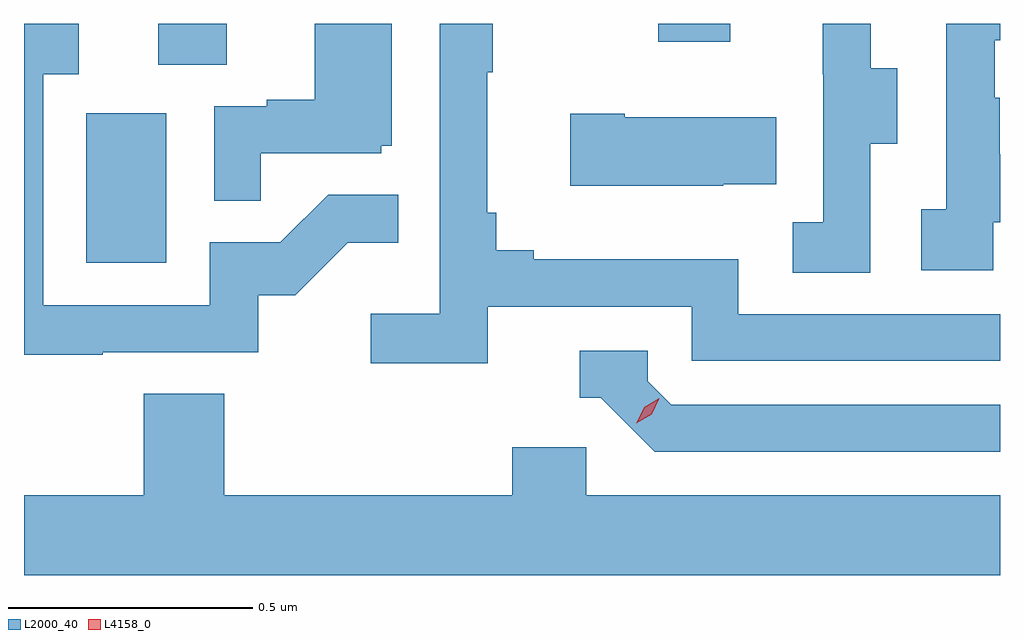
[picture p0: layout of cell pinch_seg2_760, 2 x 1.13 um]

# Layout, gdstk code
import gdstk
lib = gdstk.Library(unit=1e-6, precision=1e-09)
def R(c, l, rs):  # rectangles x0, y0, x1, y1
    for r in rs: c.add(gdstk.rectangle(r[:2], r[2:], *l))
def P(c, l, *ps):  # polygons
    for p in ps: c.add(gdstk.Polygon(p, *l))
L2000_40 = (2000, 40)
L4158_0 = (4158, 0)

pinch_seg2_760 = lib.new_cell('pinch_seg2_760')
R(pinch_seg2_760, L2000_40, [(885.044,661.596,885.208,661.903), (885.191,662.002,885.331,662.086), (886.216,662.049,886.363,662.086)])
P(pinch_seg2_760, L2000_40, [(885.401,661.821),(885.648,661.821),(885.648,661.836),(885.67,661.836),(885.67,662.086),(885.512,662.086),(885.512,661.93),(885.413,661.93),(885.413,661.917),(885.306,661.917),(885.306,661.723),(885.401,661.723)],
  [(886.902,661.679),(886.916,661.679),(886.916,661.819),(886.915,661.819),(886.915,661.934),(886.905,661.934),(886.905,662.052),(886.916,662.052),(886.916,662.086),(886.806,662.086),(886.806,661.706),(886.755,661.706),(886.755,661.581),(886.902,661.581)],
  [(885.866,661.506),(886.284,661.506),(886.284,661.395),(886.916,661.395),(886.916,661.491),(886.38,661.491),(886.38,661.603),(885.961,661.603),(885.961,661.622),(885.884,661.622),(885.884,661.699),(885.865,661.699),(885.865,661.987),(885.877,661.987),(885.877,662.086),(885.768,662.086),(885.768,661.492),(885.627,661.492),(885.627,661.39),(885.866,661.39)],
  [(886.65,661.84),(886.705,661.84),(886.705,661.995),(886.651,661.995),(886.651,662.086),(886.553,662.086),(886.553,661.983),(886.554,661.983),(886.554,661.679),(886.491,661.679),(886.491,661.576),(886.65,661.576)],
  [(885.077,661.413),(885.396,661.413),(885.396,661.53),(885.472,661.53),(885.579,661.637),(885.683,661.637),(885.683,661.736),(885.539,661.736),(885.441,661.638),(885.297,661.638),(885.297,661.509),(884.955,661.509),(884.955,661.983),(885.028,661.983),(885.028,662.086),(884.916,662.086),(884.916,661.408),(885.077,661.408)],
  [(886.349,661.757),(886.457,661.757),(886.457,661.894),(886.147,661.894),(886.147,661.902),(886.035,661.902),(886.035,661.754),(886.349,661.754)],
  [(886.916,661.305),(886.242,661.305),(886.194,661.353),(886.194,661.416),(886.055,661.416),(886.055,661.32),(886.098,661.32),(886.209,661.209),(886.916,661.209)],
  [(886.916,661.12),(886.068,661.12),(886.068,661.218),(885.917,661.218),(885.917,661.12),(885.326,661.12),(885.326,661.328),(885.161,661.328),(885.161,661.12),(884.916,661.12),(884.916,660.956),(886.916,660.956)])
P(pinch_seg2_760, L4158_0, [(886.171,661.267),(886.171,661.267),(886.187,661.3),(886.218,661.319),(886.218,661.319),(886.218,661.319),(886.202,661.286),(886.171,661.267)])

lib.write_gds('pinch_seg2_760.gds')
